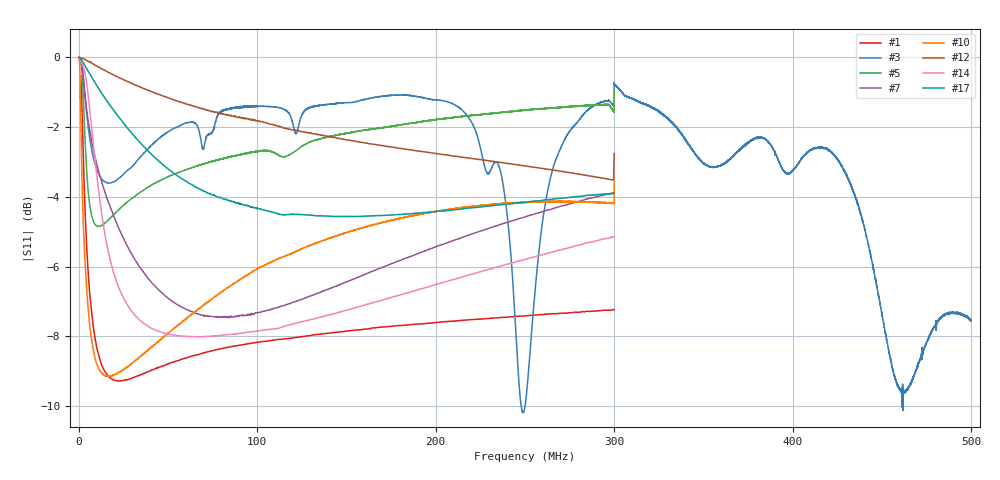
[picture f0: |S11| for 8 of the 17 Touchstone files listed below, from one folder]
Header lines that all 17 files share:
# HZ S RI R 50
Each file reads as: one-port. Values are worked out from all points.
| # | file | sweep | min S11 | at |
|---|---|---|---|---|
| 1 | binocular43.s1p | 1 MHz to 300 MHz | -9.3 dB | 22.21 MHz |
| 2 | core1.s1p | 50 kHz to 450.3 MHz | -10.8 dB | 282.8 MHz |
| 3 | core3.s1p | 50 kHz to 500 MHz | -10.2 dB | 248.9 MHz |
| 4 | core4.s1p | 50 kHz to 400 MHz | -5.0 dB | 11.45 MHz |
| 5 | core4_fixtureB.s1p | 50 kHz to 300 MHz | -4.9 dB | 11.28 MHz |
| 6 | core5.s1p | 50 kHz to 400 MHz | -17.9 dB | 165.7 MHz |
| 7 | delme.s1p | 1 MHz to 300 MHz | -7.5 dB | 84.27 MHz |
| 8 | ft37-43-torroid.s1p | 100 kHz to 300 MHz | -9.0 dB | 114.2 MHz |
| 9 | unknown-binocular.s1p | 1 MHz to 300 MHz | -9.0 dB | 38.07 MHz |
| 10 | unknown-torroid-9x5x2.84.s1p | 50 kHz to 300 MHz | -9.1 dB | 16.12 MHz |
| 11 | unknown-torroid-13x8x6.s1p | 50 kHz to 300 MHz | -4.6 dB | 125.7 MHz |
| 12 | unknown-torroid-15.5x8x6-2-1loop.s1p | 50 kHz to 300 MHz | -3.5 dB | 299.7 MHz |
| 13 | unknown-torroid-15.5x8x6-2-2loops.s1p | 50 kHz to 300 MHz | -3.9 dB | 299.7 MHz |
| 14 | unknown-torroid-gray-7.65x3.95x12.62.s1p | 100 kHz to 300 MHz | -8.0 dB | 66.68 MHz |
| 15 | unknown-torroid-gray-14.18x6.13x10.23.s1p | 100 kHz to 300 MHz | -7.0 dB | 43.79 MHz |
| 16 | unknown-torroid-gray-25x14.8x10.s1p | 100 kHz to 300 MHz | -7.2 dB | 56.57 MHz |
| 17 | unknown-torroid-green-blue-33.11x16x11.55.s1p | 100 kHz to 300 MHz | -4.6 dB | 144.3 MHz |
